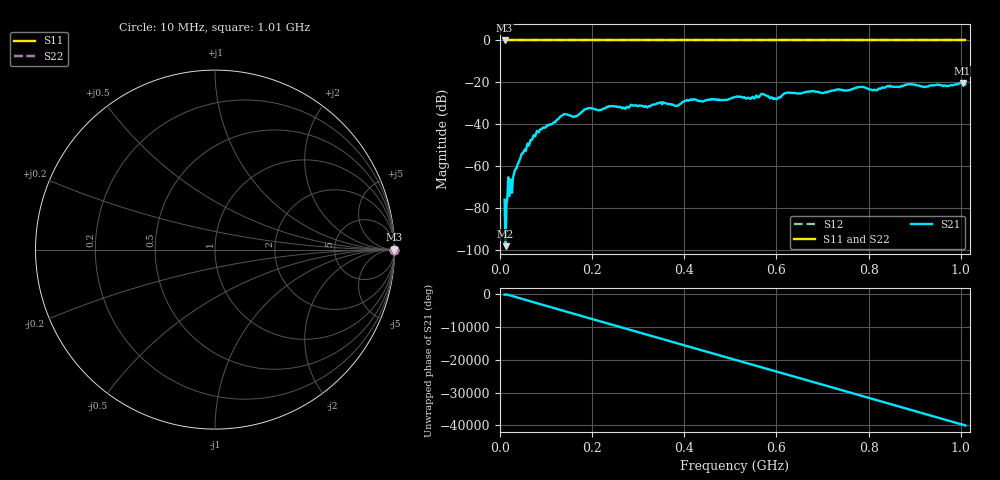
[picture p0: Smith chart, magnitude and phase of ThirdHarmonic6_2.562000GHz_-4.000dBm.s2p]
! 8/17/2025 5:18:18 AM
! C:\ANRITSUVNA\TEMP\TEMP.S2P
! CHANNEL.1
! TR.MEASUREMENT
! RAW.DATA
! RF.CORRECTION.OFF
! AVERAGING.OFF
! IF.BANDWIDTH: 5KHZ
! SWEEPTYPE:  FREQ.SWEEP(Linear)
! Reference Plane Port Info
! PORT:  PORT1  PORT2
! DISTANCE:  0  m  0  m
! TIME:  0  s  0  s
! PHASE.OFFSET:  0  deg.  0  deg.
! LOSS:  0  dB  0  dB
! REF.LOSS:  0  dB  0  dB
! REF.FREQ:  0  Hz  0  Hz
! Power Info
! POWER:  -20  dBm  -20  dBm
! EFF.POWER:  -20  dBm  -20  dBm
! SOURCE.ATTEN:  0  dB  0  dB
! TEST.ATTEN:  0  dB  0  dB
# GHZ S RI R 50.0
! FREQ.GHZ  S11RE  S11IM  S21RE  S21IM  S12RE  S12IM  S22RE  S22IM
!; PortSelection: Port_12
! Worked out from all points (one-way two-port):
!   501 points, 10 MHz to 1.01 GHz, reference 50 ohm
!   highest |S21| = -20.34 dB at 1.004 GHz (marker M1); lowest = -98.2 dB at 12 MHz (marker M2)
!   lowest |S11| = 0.0 dB at 10 MHz (marker M3)
!   |S11| at or under -10 dB: nowhere
!   |S22| runs from 0.0 to 0.0 dB; largest |S21 - S12| = 1.1
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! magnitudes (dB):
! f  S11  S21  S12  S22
! 10 MHz  0.0  -76.0  0.0  0.0
! 12 MHz  0.0  -98.2  0.0  0.0
! 20 MHz  0.0  -74.3  0.0  0.0
! 24 MHz  0.0  -66.6  0.0  0.0
! 44 MHz  0.0  -56.3  0.0  0.0
! 76 MHz  0.0  -45.8  0.0  0.0
! 136 MHz  0.0  -35.8  0.0  0.0
! 164 MHz  0.0  -36.3  0.0  0.0
! 178 MHz  0.0  -34.1  0.0  0.0
! 344 MHz  0.0  -30.0  0.0  0.0
! 382 MHz  0.0  -31.2  0.0  0.0
! 416 MHz  0.0  -28.4  0.0  0.0
! 510 MHz  0.0  -27.0  0.0  0.0
! 570 MHz  0.0  -25.5  0.0  0.0
! 598 MHz  0.0  -27.7  0.0  0.0
! 622 MHz  0.0  -25.0  0.0  0.0
! 678 MHz  0.0  -24.2  0.0  0.0
! 784 MHz  0.0  -22.2  0.0  0.0
! 814 MHz  0.0  -23.5  0.0  0.0
! 844 MHz  0.0  -22.0  0.0  0.0
! 1.004 GHz  0.0  -20.3  0.0  0.0
! 1.01 GHz  0.0  -21.0  0.0  0.0
